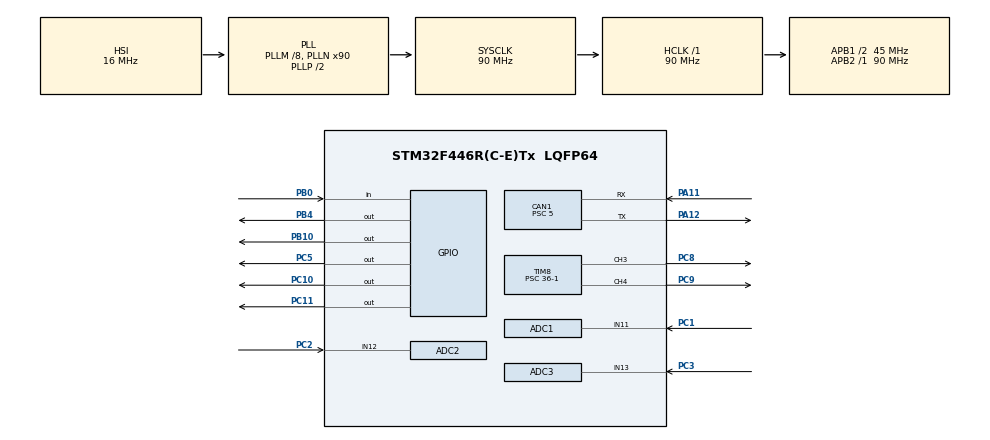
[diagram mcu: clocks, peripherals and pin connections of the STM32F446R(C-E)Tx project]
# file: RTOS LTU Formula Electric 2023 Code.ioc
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ADC1.Channel-0\#ChannelRegularConversion=ADC_CHANNEL_11
ADC1.ClockPrescaler=ADC_CLOCK_SYNC_PCLK_DIV8
ADC1.NbrOfConversionFlag=1
ADC1.Rank-0\#ChannelRegularConversion=1
ADC1.Resolution=ADC_RESOLUTION_10B
ADC1.SamplingTime-0\#ChannelRegularConversion=ADC_SAMPLETIME_56CYCLES
ADC1.master=1
ADC2.Channel-0\#ChannelRegularConversion=ADC_CHANNEL_12
ADC2.ClockPrescaler=ADC_CLOCK_SYNC_PCLK_DIV8
ADC2.NbrOfConversionFlag=1
ADC2.Rank-0\#ChannelRegularConversion=1
ADC2.Resolution=ADC_RESOLUTION_10B
ADC2.SamplingTime-0\#ChannelRegularConversion=ADC_SAMPLETIME_56CYCLES
ADC3.Channel-0\#ChannelRegularConversion=ADC_CHANNEL_13
ADC3.ClockPrescaler=ADC_CLOCK_SYNC_PCLK_DIV8
ADC3.NbrOfConversionFlag=1
ADC3.Rank-0\#ChannelRegularConversion=1
ADC3.Resolution=ADC_RESOLUTION_10B
ADC3.SamplingTime-0\#ChannelRegularConversion=ADC_SAMPLETIME_56CYCLES
CAN1.BS1=CAN_BS1_15TQ
CAN1.BS2=CAN_BS2_2TQ
CAN1.CalculateBaudRate=500000
CAN1.CalculateTimeBit=2000
CAN1.CalculateTimeQuantum=111.11111111111111
CAN1.Prescaler=5
FREERTOS.INCLUDE_vTaskDelayUntil=1
FREERTOS.Tasks01=TorqueControl,0,200,StartDefaultTask,Default,NULL,Dynamic,NULL,NULL;NodeGuarding,1,200,StartTask02,Default,NULL,Dynamic,NULL,NULL;OrionData,0,200,StartTask04,Default,NULL,Dynamic,NULL,NULL;PWM,0,200,StartTask05,Default,NULL,Dynamic,NULL,NULL;OrionDerateData,0,200,StartTask06,Default,NULL,Dynamic,NULL,NULL;Ignition,0,200,StartTask06,Default,NULL,Dynamic,NULL,NULL
Mcu.Family=STM32F4
Mcu.Name=STM32F446R(C-E)Tx
Mcu.Package=LQFP64
NVIC.PriorityGroup=NVIC_PRIORITYGROUP_4
NVIC.TIM2_IRQn=true\:5\:0\:false\:false\:true\:false\:true\:true\:true
NVIC.TIM3_IRQn=true\:15\:0\:false\:false\:true\:false\:false\:true\:true
NVIC.TimeBase=TIM3_IRQn
NVIC.TimeBaseIP=TIM3
PA11.Mode=CAN_Activate
PA11.Signal=CAN1_RX
PA12.Mode=CAN_Activate
PA12.Signal=CAN1_TX
PA13.Mode=Serial_Wire
PA13.Signal=SYS_JTMS-SWDIO
PA14.Mode=Serial_Wire
PA14.Signal=SYS_JTCK-SWCLK
PB0.GPIO_PuPd=GPIO_PULLUP
PB0.Signal=GPIO_Input
PB10.GPIO_PuPd=GPIO_PULLDOWN
PB10.GPIO_Speed=GPIO_SPEED_FREQ_HIGH
PB10.PinState=GPIO_PIN_SET
PB10.Signal=GPIO_Output
PB4.GPIO_PuPd=GPIO_PULLDOWN
PB4.Signal=GPIO_Output
PC1.Signal=ADCx_IN11
PC10.GPIO_PuPd=GPIO_PULLDOWN
PC10.GPIO_Speed=GPIO_SPEED_FREQ_HIGH
PC10.PinState=GPIO_PIN_SET
PC10.Signal=GPIO_Output
PC11.GPIO_PuPd=GPIO_PULLDOWN
PC11.GPIO_Speed=GPIO_SPEED_FREQ_HIGH
PC11.PinState=GPIO_PIN_SET
PC11.Signal=GPIO_Output
PC14-OSC32_IN.Mode=LSE-External-Oscillator
PC14-OSC32_IN.Signal=RCC_OSC32_IN
PC15-OSC32_OUT.Mode=LSE-External-Oscillator
PC15-OSC32_OUT.Signal=RCC_OSC32_OUT
PC2.Signal=ADCx_IN12
PC3.Signal=ADCx_IN13
PC5.GPIO_PuPd=GPIO_PULLDOWN
PC5.GPIO_Speed=GPIO_SPEED_FREQ_HIGH
PC5.PinState=GPIO_PIN_SET
PC5.Signal=GPIO_Output
PC8.Signal=S_TIM8_CH3
PC9.Signal=S_TIM8_CH4
PH0-OSC_IN.Mode=HSE-External-Clock-Source
PH0-OSC_IN.Signal=RCC_OSC_IN
PH1-OSC_OUT.Mode=HSE-External-Clock-Source
PH1-OSC_OUT.Signal=RCC_OSC_OUT
ProjectManager.HeapSize=0x200
ProjectManager.StackSize=0x400
ProjectManager.TargetToolchain=STM32CubeIDE
RCC.48MHZClocksFreq_Value=84000000
RCC.AHBFreq_Value=90000000
RCC.APB1CLKDivider=RCC_HCLK_DIV2
RCC.APB1Freq_Value=45000000
RCC.APB1TimFreq_Value=90000000
RCC.APB2Freq_Value=90000000
RCC.APB2TimFreq_Value=90000000
RCC.CortexFreq_Value=90000000
RCC.FLatency-AdvancedSettings=FLASH_LATENCY_2
RCC.HCLKFreq_Value=90000000
RCC.HSE_VALUE=8000000
RCC.HSI_VALUE=16000000
RCC.PLLM=8
RCC.PLLN=90
RCC.SYSCLKFreq_VALUE=90000000
RCC.SYSCLKSource=RCC_SYSCLKSOURCE_PLLCLK
RCC.USBFreq_Value=90000000
RCC.VCOOutputFreq_Value=180000000
SH.ADCx_IN11.0=ADC1_IN11,IN11
SH.ADCx_IN12.0=ADC2_IN12,IN12
SH.ADCx_IN13.0=ADC3_IN13,IN13
SH.S_TIM8_CH3.0=TIM8_CH3,PWM Generation3 CH3
SH.S_TIM8_CH4.0=TIM8_CH4,PWM Generation4 CH4
TIM2.Channel-Output\ Compare1\ No\ Output=TIM_CHANNEL_1
TIM2.Period=10000-1
TIM2.Prescaler=18000-1
TIM2.Pulse-Output\ Compare1\ No\ Output=10000
TIM8.Channel-PWM\ Generation3\ CH3=TIM_CHANNEL_3
TIM8.Channel-PWM\ Generation4\ CH4=TIM_CHANNEL_4
TIM8.Period=100-1
TIM8.Prescaler=36-1
VP_FREERTOS_VS_CMSIS_V1.Mode=CMSIS_V1
VP_SYS_VS_tim3.Mode=TIM3
VP_TIM2_VS_ClockSourceINT.Mode=Internal
VP_TIM2_VS_no_output1.Mode=Output Compare1 No Output
VP_TIM8_VS_ClockSourceINT.Mode=Internal
board=NUCLEO-F446RE

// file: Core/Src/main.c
/* USER CODE BEGIN Header */
/**
  ******************************************************************************
  * @file           : main.c
  * @brief          : Main program body
  ******************************************************************************
  * @attention
  *
  * Copyright (c) 2023 STMicroelectronics.
  * All rights reserved.
  *
  * This software is licensed under terms that can be found in the LICENSE file
  * in the root directory of this software component.
  * If no LICENSE file comes with this software, it is provided AS-IS.
  *
  ******************************************************************************
  */
/* USER CODE END Header */
#include "main.h"
#include "cmsis_os.h"

/* USER CODE BEGIN Includes */

#include "CAN.h"

/* USER CODE END Includes */

/* USER CODE BEGIN PTD */

typedef enum
{

	true = 1,
	false = 0

} bool;

/* USER CODE END PTD */

ADC_HandleTypeDef hadc1;
ADC_HandleTypeDef hadc2;
ADC_HandleTypeDef hadc3;

CAN_HandleTypeDef hcan1;

TIM_HandleTypeDef htim2;
TIM_HandleTypeDef htim8;

osThreadId TorqueControlHandle;
osThreadId NodeGuardingHandle;
osThreadId OrionDataHandle;
osThreadId PWMHandle;
osThreadId OrionDerateDataHandle;
osThreadId IgnitionHandle;
/* USER CODE BEGIN PV */

// Ignition
GPIO_PinState buttonState, lastButtonState = GPIO_PIN_SET;
bool enableCar = false;
unsigned long buttonPressTime = 0;

// Task times update according to clock speed
unsigned long previousTaskTime[8] = { 0 };
const uint8_t BMS_CYCLE_TIME = 60;
const uint8_t TORQUE_CYCLE_TIME = 10;
const uint8_t NODE_GUARDING_CYCLE_TIME = 70;
const uint8_t TIMEOUT = 20;

// Error Detection
bool errorSet[3] = { false };

// Torque Control
uint32_t primaryPotValue = 0, secondaryPotValue = 0;
uint32_t buffer1 = 0, buffer2 = 0;
int torqueRefLimit = 5000;
const int SPEED_REF_LIMIT =	(6500 + 32768);
const int THROTTLE_POSITION_MAX_1 = 234;
const int THROTTLE_POSITION_MIN_1 = 300;
const int THROTTLE_POSITION_MAX_2 = 382;
const int THROTTLE_POSITION_MIN_2 = 315;
const int TORQUE_REF_LIM_MAX = 9500;
const int TORQUE_REF_LIM_MIN = 5000;

// CAN Rx Header FIFO0
CAN_RxHeaderTypeDef rxHeaderFIFO0;
uint8_t dataFIFO0[8] = { 0 };

// CAN Rx Header FIFO1
CAN_RxHeaderTypeDef rxHeaderFIFO1;
uint8_t data[8] = { 0 };

// BMS Data
float packStateOfCharge = 0;
uint16_t packCurrent = 0;

// RPM Data
int rpm = 0;

// Temperature Data
int motorTemp = 0;
int motorControllerTemp = 0;

// PWM
int pumpPWM = 0;
int fanPWM = 0;

// Brake Pressure Sensor
uint16_t brakePressure = 0;

/* USER CODE END PV */

void SystemClock_Config(void);
static void MX_GPIO_Init(void);
static void MX_ADC1_Init(void);
static void MX_ADC2_Init(void);
static void MX_CAN1_Init(void);
static void MX_TIM2_Init(void);
static void MX_TIM8_Init(void);
static void MX_ADC3_Init(void);
void StartDefaultTask(void const * argument);
void StartTask02(void const * argument);
void StartTask04(void const * argument);
void StartTask05(void const * argument);
void StartTask06(void const * argument);

/* USER CODE BEGIN PFP */

// Pedal Position Output Filter (Eliminates induces noise and spikes in signal)
uint32_t ADC_GetAverageValue(ADC_HandleTypeDef* hadc, int numOfReadings)
{

	int max = 0, min = 0;
	int maxIndex = 0, minIndex = 0;
	uint32_t data[10] = { 0 };
	uint32_t sum = 0, average = 0;

	for (int i = 0; i < numOfReadings; i++)
	{
		HAL_ADC_Start(hadc);

		HAL_ADC_PollForConversion(hadc, 1);

		data[i] = HAL_ADC_GetValue(hadc);

		HAL_ADC_Stop(hadc);
	}

	max = data[0];

	for (int i = 1; i < 10; i++)
	{
		if (data[i] > max)
		{
			max = data[i];
			maxIndex = i;
		}
	}

	min = data[0];

	for (int i = 1; i < 10; i++)
	{
		if (data[i] < min)
		{
			min = data[i];
			minIndex = i;
		}
	}

	for (int i = 0; i < 10; i++)
	{
		if (i == minIndex || i == maxIndex)
		{
      sum += 0;
		}
		else
		{
			sum += data[i];
		}
	}

	average = sum / 8;

	data[maxIndex] = average;

	data[minIndex] = average;

	sum = 0;

	for (int i = 0; i < 10; i++)
	{
		sum += data[i];
	}

	average = sum / 10;

	return (average);
}
/*
void ignitionTask()
{
	buttonState = HAL_GPIO_ReadPin(GPIOB, GPIO_PIN_0);

	if (lastState == GPIO_PIN_SET && buttonState == GPIO_PIN_RESET)
	{
		buttonPressTime = HAL_GetTick();
	}
	else if (lastState == GPIO_PIN_RESET && buttonState == GPIO_PIN_SET)
	{
		buttonReleaseTime = HAL_GetTick();

		long pressDuration = buttonReleaseTime - buttonPressTime;

		if (pressDuration > 500)
		{
			startNode();
			clearErrors();

			HAL_GPIO_WritePin(GPIOB, GPIO_PIN_4, GPIO_PIN_SET);

			TIM2->CNT = 0;
			HAL_TIM_OC_Start_IT(&htim2, TIM_CHANNEL_1);

			enableCar = true;
		}
	}

	lastState = buttonState;
}
*/

// Handles Vehicle Ignition Process
void ignitionTask()
{
	buttonState = HAL_GPIO_ReadPin(GPIOB, GPIO_PIN_0);

	buttonPressTime = HAL_GetTick();

	while (buttonState == GPIO_PIN_RESET)
	{
		if (HAL_GetTick() - buttonPressTime > 50)
		{
			startNode();
			clearErrors();

			HAL_GPIO_WritePin(GPIOB, GPIO_PIN_4, GPIO_PIN_SET);

			TIM2->CNT = 0;
			HAL_TIM_OC_Start_IT(&htim2, TIM_CHANNEL_1);

			enableCar = true;
		}

		buttonState = HAL_GPIO_ReadPin(GPIOB, GPIO_PIN_0);
	}
}

bool timeCheck(int duration, int taskNum)
{
	unsigned long currentTaskTime = HAL_GetTick();

	if (currentTaskTime - previousTaskTime[taskNum] > duration)
	{
		return true;
	}
	else
	{
		return false;
	}
}

// General purpose map function
long map(long x, long in_min, long in_max, long out_min, long out_max) {
  return (x - in_min) * (out_max - out_min) / (in_max - in_min) + out_min;
}

// General constrain function
long constrain(long x, long out_min, long out_max)
{
	if (x < out_min)
	{
		return out_min;
	}

	if (x > out_max)
	{
		return out_max;
	}

	return x;
}

// Primary Pedal position sensor range check
void primaryPotErrorCheck()
{
	primaryPotValue = constrain(ADC_GetAverageValue(&hadc1, 10), 0, 1023);

	if (primaryPotValue <= 0 || primaryPotValue >= 550)
	{
		errorSet[0] = true;
	}
	else
	{
		errorSet[0] = false;
	}
}

// Secondary Pedal position sensor range check
void secondaryPotErrorCheck()
{
	secondaryPotValue = constrain(ADC_GetAverageValue(&hadc2, 10), 0, 1023);

	if (secondaryPotValue <= 0 || secondaryPotValue >= 550)
	{
		errorSet[1] = true;
	}
	else
	{
		errorSet[1] = false;
	}
}

// Brake pressure sensor range check
void brakeSensorErrorCheck()
{
	brakePressure = ADC_GetAverageValue(&hadc3, 10);

	brakePressure += 44;

	if (brakePressure <= 90 || brakePressure >= 260)
	{
		errorSet[2] = true;
	}
	else
	{
		errorSet[2] = false;
	}
}

// Torque Control and Regenerative Braking Function
void torqueControl()
{

	if (errorSet[0] == true && errorSet[1] == true)
	{
		torqueRefLimit = 5000;
	}
	else if (errorSet[0] == true)
	{
		secondaryPotValue = constrain(ADC_GetAverageValue(&hadc2, 10), 0, 1023);

		torqueRefLimit = map(secondaryPotValue, THROTTLE_POSITION_MIN_2, THROTTLE_POSITION_MAX_2, TORQUE_REF_LIM_MIN, TORQUE_REF_LIM_MAX);

		torqueRefLimit = constrain(torqueRefLimit, TORQUE_REF_LIM_MIN, TORQUE_REF_LIM_MAX);
	}
	else
	{
		primaryPotValue = constrain(ADC_GetAverageValue(&hadc1, 10), 0, 1023);

		torqueRefLimit = map(primaryPotValue, THROTTLE_POSITION_MIN_1, THROTTLE_POSITION_MAX_1, TORQUE_REF_LIM_MIN, TORQUE_REF_LIM_MAX);

		torqueRefLimit = constrain(torqueRefLimit, TORQUE_REF_LIM_MIN, TORQUE_REF_LIM_MAX);
	}

	brakePressure = ADC_GetAverageValue(&hadc3, 10);

    brakePressure += 44;

	if (brakePressure > 110 && brakePressure < 127)
	{
		 if (rpm > 200 && errorSet[0] == false && errorSet[1] == false && errorSet[2] == false)
		 {
			 torqueRefLimit = map(torqueRefLimit, 110, 127, 5000, 4500);
		 }
	}

	torqueControlMessage(&torqueRefLimit, &SPEED_REF_LIMIT);
}

/* USER CODE END PFP */

/* USER CODE BEGIN 0 */

// RTD Speaker interrupt handler
void HAL_TIM_OC_DelayElapsedCallback(TIM_HandleTypeDef *htim)
{
  /* Prevent unused argument(s) compilation warning */

	HAL_GPIO_WritePin(GPIOB, GPIO_PIN_4, GPIO_PIN_RESET);

	HAL_TIM_OC_Stop_IT(&htim2, TIM_CHANNEL_1);

  /* NOTE : This function should not be modified, when the callback is needed,
            the HAL_TIM_OC_DelayElapsedCallback could be implemented in the user file
   */
}

/* USER CODE END 0 */

int main(void)
{

  /* MCU Configuration--------------------------------------------------------*/

  /* Reset of all peripherals, Initializes the Flash interface and the Systick. */
  HAL_Init();

  /* Configure the system clock */
  SystemClock_Config();

  /* USER CODE BEGIN SysInit */

  //vTraceEnable(TRC_START);

  /* USER CODE END SysInit */

  /* Initialize all configured peripherals */
  MX_GPIO_Init();
  MX_ADC1_Init();
  MX_ADC2_Init();
  MX_CAN1_Init();
  MX_TIM2_Init();
  MX_TIM8_Init();
  MX_ADC3_Init();
  /* USER CODE BEGIN 2 */

  // Iniitialize CAN Protocol
  HAL_CAN_Start(&hcan1);

  // Pump and Fan PWM
  HAL_TIM_PWM_Start(&htim8, TIM_CHANNEL_3);

  HAL_TIM_PWM_Start(&htim8, TIM_CHANNEL_4);

  TIM8->CCR3 = 50;

  TIM8->CCR4 = 50;

  HAL_GPIO_WritePin(GPIOB, GPIO_PIN_10, GPIO_PIN_SET);

  HAL_GPIO_WritePin(GPIOC, GPIO_PIN_5, GPIO_PIN_SET);

  /* USER CODE END 2 */

  /* Create the thread(s) */
  /* definition and creation of TorqueControl */
  osThreadDef(TorqueControl, StartDefaultTask, osPriorityNormal, 0, 200);
  TorqueControlHandle = osThreadCreate(osThread(TorqueControl), NULL);

  /* definition and creation of NodeGuarding */
  osThreadDef(NodeGuarding, StartTask02, osPriorityAboveNormal, 0, 200);
  NodeGuardingHandle = osThreadCreate(osThread(NodeGuarding), NULL);

  /* definition and creation of OrionData */
  osThreadDef(OrionData, StartTask04, osPriorityNormal, 0, 200);
  OrionDataHandle = osThreadCreate(osThread(OrionData), NULL);

  /* definition and creation of PWM */
  osThreadDef(PWM, StartTask05, osPriorityNormal, 0, 200);
  PWMHandle = osThreadCreate(osThread(PWM), NULL);

  /* definition and creation of OrionDerateData */
  osThreadDef(OrionDerateData, StartTask06, osPriorityNormal, 0, 200);
  OrionDerateDataHandle = osThreadCreate(osThread(OrionDerateData), NULL);

  /* definition and creation of Ignition */
  osThreadDef(Ignition, StartTask06, osPriorityNormal, 0, 200);
  IgnitionHandle = osThreadCreate(osThread(Ignition), NULL);

  /* Start scheduler */
  osKernelStart();

  /* We should never get here as control is now taken by the scheduler */
  /* Infinite loop */
  while (1)
  {

  }
}

void SystemClock_Config(void)
{
  RCC_OscInitTypeDef RCC_OscInitStruct = {0};
  RCC_ClkInitTypeDef RCC_ClkInitStruct = {0};

  /** Configure the main internal regulator output voltage
  */
  __HAL_RCC_PWR_CLK_ENABLE();
  __HAL_PWR_VOLTAGESCALING_CONFIG(PWR_REGULATOR_VOLTAGE_SCALE3);

  /** Initializes the RCC Oscillators according to the specified parameters
  * in the RCC_OscInitTypeDef structure.
  */
  RCC_OscInitStruct.OscillatorType = RCC_OSCILLATORTYPE_HSI;
  RCC_OscInitStruct.HSIState = RCC_HSI_ON;
  RCC_OscInitStruct.HSICalibrationValue = RCC_HSICALIBRATION_DEFAULT;
  RCC_OscInitStruct.PLL.PLLState = RCC_PLL_ON;
  RCC_OscInitStruct.PLL.PLLSource = RCC_PLLSOURCE_HSI;
  RCC_OscInitStruct.PLL.PLLM = 8;
  RCC_OscInitStruct.PLL.PLLN = 90;
  RCC_OscInitStruct.PLL.PLLP = RCC_PLLP_DIV2;
  RCC_OscInitStruct.PLL.PLLQ = 2;
  RCC_OscInitStruct.PLL.PLLR = 2;
  if (HAL_RCC_OscConfig(&RCC_OscInitStruct) != HAL_OK)
  {
    Error_Handler();
  }

  /** Initializes the CPU, AHB and APB buses clocks
  */
  RCC_ClkInitStruct.ClockType = RCC_CLOCKTYPE_HCLK|RCC_CLOCKTYPE_SYSCLK
                              |RCC_CLOCKTYPE_PCLK1|RCC_CLOCKTYPE_PCLK2;
  RCC_ClkInitStruct.SYSCLKSource = RCC_SYSCLKSOURCE_PLLCLK;
  RCC_ClkInitStruct.AHBCLKDivider = RCC_SYSCLK_DIV1;
  RCC_ClkInitStruct.APB1CLKDivider = RCC_HCLK_DIV2;
  RCC_ClkInitStruct.APB2CLKDivider = RCC_HCLK_DIV1;

  if (HAL_RCC_ClockConfig(&RCC_ClkInitStruct, FLASH_LATENCY_2) != HAL_OK)
  {
    Error_Handler();
  }
}

static void MX_ADC1_Init(void)
{

  ADC_ChannelConfTypeDef sConfig = {0};

  /** Configure the global features of the ADC (Clock, Resolution, Data Alignment and number of conversion)
  */
  hadc1.Instance = ADC1;
  hadc1.Init.ClockPrescaler = ADC_CLOCK_SYNC_PCLK_DIV8;
  hadc1.Init.Resolution = ADC_RESOLUTION_10B;
  hadc1.Init.ScanConvMode = DISABLE;
  hadc1.Init.ContinuousConvMode = DISABLE;
  hadc1.Init.DiscontinuousConvMode = DISABLE;
  hadc1.Init.ExternalTrigConvEdge = ADC_EXTERNALTRIGCONVEDGE_NONE;
  hadc1.Init.ExternalTrigConv = ADC_SOFTWARE_START;
  hadc1.Init.DataAlign = ADC_DATAALIGN_RIGHT;
  hadc1.Init.NbrOfConversion = 1;
  hadc1.Init.DMAContinuousRequests = DISABLE;
  hadc1.Init.EOCSelection = ADC_EOC_SINGLE_CONV;
  if (HAL_ADC_Init(&hadc1) != HAL_OK)
  {
    Error_Handler();
  }

  /** Configure for the selected ADC regular channel its corresponding rank in the sequencer and its sample time.
  */
  sConfig.Channel = ADC_CHANNEL_11;
  sConfig.Rank = 1;
  sConfig.SamplingTime = ADC_SAMPLETIME_56CYCLES;
  if (HAL_ADC_ConfigChannel(&hadc1, &sConfig) != HAL_OK)
  {
    Error_Handler();
  }

}

static void MX_ADC2_Init(void)
{

  ADC_ChannelConfTypeDef sConfig = {0};

  /** Configure the global features of the ADC (Clock, Resolution, Data Alignment and number of conversion)
  */
  hadc2.Instance = ADC2;
  hadc2.Init.ClockPrescaler = ADC_CLOCK_SYNC_PCLK_DIV8;
  hadc2.Init.Resolution = ADC_RESOLUTION_10B;
  hadc2.Init.ScanConvMode = DISABLE;
  hadc2.Init.ContinuousConvMode = DISABLE;
  hadc2.Init.DiscontinuousConvMode = DISABLE;
  hadc2.Init.ExternalTrigConvEdge = ADC_EXTERNALTRIGCONVEDGE_NONE;
  hadc2.Init.ExternalTrigConv = ADC_SOFTWARE_START;
  hadc2.Init.DataAlign = ADC_DATAALIGN_RIGHT;
  hadc2.Init.NbrOfConversion = 1;
  hadc2.Init.DMAContinuousRequests = DISABLE;
  hadc2.Init.EOCSelection = ADC_EOC_SINGLE_CONV;
  if (HAL_ADC_Init(&hadc2) != HAL_OK)
  {
    Error_Handler();
  }

  /** Configure for the selected ADC regular channel its corresponding rank in the sequencer and its sample time.
  */
  sConfig.Channel = ADC_CHANNEL_12;
  sConfig.Rank = 1;
  sConfig.SamplingTime = ADC_SAMPLETIME_56CYCLES;
  if (HAL_ADC_ConfigChannel(&hadc2, &sConfig) != HAL_OK)
  {
    Error_Handler();
  }

}

static void MX_ADC3_Init(void)
{

  ADC_ChannelConfTypeDef sConfig = {0};

  /** Configure the global features of the ADC (Clock, Resolution, Data Alignment and number of conversion)
  */
  hadc3.Instance = ADC3;
  hadc3.Init.ClockPrescaler = ADC_CLOCK_SYNC_PCLK_DIV8;
  hadc3.Init.Resolution = ADC_RESOLUTION_10B;
  hadc3.Init.ScanConvMode = DISABLE;
  hadc3.Init.ContinuousConvMode = DISABLE;
  hadc3.Init.DiscontinuousConvMode = DISABLE;
  hadc3.Init.ExternalTrigConvEdge = ADC_EXTERNALTRIGCONVEDGE_NONE;
  hadc3.Init.ExternalTrigConv = ADC_SOFTWARE_START;
  hadc3.Init.DataAlign = ADC_DATAALIGN_RIGHT;
  hadc3.Init.NbrOfConversion = 1;
  hadc3.Init.DMAContinuousRequests = DISABLE;
  hadc3.Init.EOCSelection = ADC_EOC_SINGLE_CONV;
  if (HAL_ADC_Init(&hadc3) != HAL_OK)
  {
    Error_Handler();
  }

  /** Configure for the selected ADC regular channel its corresponding rank in the sequencer and its sample time.
  */
  sConfig.Channel = ADC_CHANNEL_13;
  sConfig.Rank = 1;
  sConfig.SamplingTime = ADC_SAMPLETIME_56CYCLES;
  if (HAL_ADC_ConfigChannel(&hadc3, &sConfig) != HAL_OK)
  {
    Error_Handler();
  }

}

static void MX_CAN1_Init(void)
{

  hcan1.Instance = CAN1;
  hcan1.Init.Prescaler = 5;
  hcan1.Init.Mode = CAN_MODE_NORMAL;
  hcan1.Init.SyncJumpWidth = CAN_SJW_1TQ;
  hcan1.Init.TimeSeg1 = CAN_BS1_15TQ;
  hcan1.Init.TimeSeg2 = CAN_BS2_2TQ;
  hcan1.Init.TimeTriggeredMode = DISABLE;
  hcan1.Init.AutoBusOff = DISABLE;
  hcan1.Init.AutoWakeUp = DISABLE;
  hcan1.Init.AutoRetransmission = DISABLE;
  hcan1.Init.ReceiveFifoLocked = DISABLE;
  hcan1.Init.TransmitFifoPriority = DISABLE;
  if (HAL_CAN_Init(&hcan1) != HAL_OK)
  {
    //Error_Handler();
  }
  /* USER CODE BEGIN CAN1_Init 2 */

  motorAndControllerTempFilterConfig();

  motorRPMFilterConfig();

  orionFilterConfig();

  //orionFilterConfig_1();

  /* USER CODE END CAN1_Init 2 */

}

static void MX_TIM2_Init(void)
{

  TIM_ClockConfigTypeDef sClockSourceConfig = {0};
  TIM_MasterConfigTypeDef sMasterConfig = {0};
  TIM_OC_InitTypeDef sConfigOC = {0};

  htim2.Instance = TIM2;
  htim2.Init.Prescaler = 18000-1;
  htim2.Init.CounterMode = TIM_COUNTERMODE_UP;
  htim2.Init.Period = 10000-1;
  htim2.Init.ClockDivision = TIM_CLOCKDIVISION_DIV1;
  htim2.Init.AutoReloadPreload = TIM_AUTORELOAD_PRELOAD_DISABLE;
  if (HAL_TIM_Base_Init(&htim2) != HAL_OK)
  {
    Error_Handler();
  }
  sClockSourceConfig.ClockSource = TIM_CLOCKSOURCE_INTERNAL;
  if (HAL_TIM_ConfigClockSource(&htim2, &sClockSourceConfig) != HAL_OK)
  {
    Error_Handler();
  }
  if (HAL_TIM_OC_Init(&htim2) != HAL_OK)
  {
    Error_Handler();
  }
  sMasterConfig.MasterOutputTrigger = TIM_TRGO_RESET;
  sMasterConfig.MasterSlaveMode = TIM_MASTERSLAVEMODE_DISABLE;
  if (HAL_TIMEx_MasterConfigSynchronization(&htim2, &sMasterConfig) != HAL_OK)
  {
    Error_Handler();
  }
  sConfigOC.OCMode = TIM_OCMODE_TIMING;
  sConfigOC.Pulse = 10000;
  sConfigOC.OCPolarity = TIM_OCPOLARITY_HIGH;
  sConfigOC.OCFastMode = TIM_OCFAST_DISABLE;
  if (HAL_TIM_OC_ConfigChannel(&htim2, &sConfigOC, TIM_CHANNEL_1) != HAL_OK)
  {
    Error_Handler();
  }

}

static void MX_TIM8_Init(void)
{

  TIM_ClockConfigTypeDef sClockSourceConfig = {0};
  TIM_MasterConfigTypeDef sMasterConfig = {0};
  TIM_OC_InitTypeDef sConfigOC = {0};
  TIM_BreakDeadTimeConfigTypeDef sBreakDeadTimeConfig = {0};

  htim8.Instance = TIM8;
  htim8.Init.Prescaler = 36-1;
  htim8.Init.CounterMode = TIM_COUNTERMODE_UP;
  htim8.Init.Period = 100-1;
  htim8.Init.ClockDivision = TIM_CLOCKDIVISION_DIV1;
  htim8.Init.RepetitionCounter = 0;
  htim8.Init.AutoReloadPreload = TIM_AUTORELOAD_PRELOAD_DISABLE;
  if (HAL_TIM_Base_Init(&htim8) != HAL_OK)
  {
    Error_Handler();
  }
  sClockSourceConfig.ClockSource = TIM_CLOCKSOURCE_INTERNAL;
  if (HAL_TIM_ConfigClockSource(&htim8, &sClockSourceConfig) != HAL_OK)
  {
    Error_Handler();
  }
  if (HAL_TIM_PWM_Init(&htim8) != HAL_OK)
  {
    Error_Handler();
  }
  sMasterConfig.MasterOutputTrigger = TIM_TRGO_RESET;
  sMasterConfig.MasterSlaveMode = TIM_MASTERSLAVEMODE_DISABLE;
  if (HAL_TIMEx_MasterConfigSynchronization(&htim8, &sMasterConfig) != HAL_OK)
  {
    Error_Handler();
  }
  sConfigOC.OCMode = TIM_OCMODE_PWM1;
  sConfigOC.Pulse = 0;
  sConfigOC.OCPolarity = TIM_OCPOLARITY_HIGH;
  sConfigOC.OCNPolarity = TIM_OCNPOLARITY_HIGH;
  sConfigOC.OCFastMode = TIM_OCFAST_DISABLE;
  sConfigOC.OCIdleState = TIM_OCIDLESTATE_RESET;
  sConfigOC.OCNIdleState = TIM_OCNIDLESTATE_RESET;
  if (HAL_TIM_PWM_ConfigChannel(&htim8, &sConfigOC, TIM_CHANNEL_3) != HAL_OK)
  {
    Error_Handler();
  }
  if (HAL_TIM_PWM_ConfigChannel(&htim8, &sConfigOC, TIM_CHANNEL_4) != HAL_OK)
  {
    Error_Handler();
  }
  sBreakDeadTimeConfig.OffStateRunMode = TIM_OSSR_DISABLE;
  sBreakDeadTimeConfig.OffStateIDLEMode = TIM_OSSI_DISABLE;
  sBreakDeadTimeConfig.LockLevel = TIM_LOCKLEVEL_OFF;
  sBreakDeadTimeConfig.DeadTime = 0;
  sBreakDeadTimeConfig.BreakState = TIM_BREAK_DISABLE;
  sBreakDeadTimeConfig.BreakPolarity = TIM_BREAKPOLARITY_HIGH;
  sBreakDeadTimeConfig.AutomaticOutput = TIM_AUTOMATICOUTPUT_DISABLE;
  if (HAL_TIMEx_ConfigBreakDeadTime(&htim8, &sBreakDeadTimeConfig) != HAL_OK)
  {
    Error_Handler();
  }
  HAL_TIM_MspPostInit(&htim8);

}

static void MX_GPIO_Init(void)
{
  GPIO_InitTypeDef GPIO_InitStruct = {0};

  /* GPIO Ports Clock Enable */
  __HAL_RCC_GPIOC_CLK_ENABLE();
  __HAL_RCC_GPIOH_CLK_ENABLE();
  __HAL_RCC_GPIOB_CLK_ENABLE();
  __HAL_RCC_GPIOA_CLK_ENABLE();

  /*Configure GPIO pin Output Level */
  HAL_GPIO_WritePin(GPIOC, GPIO_PIN_5|GPIO_PIN_10|GPIO_PIN_11, GPIO_PIN_SET);

  /*Configure GPIO pin Output Level */
  HAL_GPIO_WritePin(GPIOB, GPIO_PIN_10, GPIO_PIN_SET);

  /*Configure GPIO pin Output Level */
  HAL_GPIO_WritePin(GPIOB, GPIO_PIN_4, GPIO_PIN_RESET);

  /*Configure GPIO pins : PC5 PC10 PC11 */
  GPIO_InitStruct.Pin = GPIO_PIN_5|GPIO_PIN_10|GPIO_PIN_11;
  GPIO_InitStruct.Mode = GPIO_MODE_OUTPUT_PP;
  GPIO_InitStruct.Pull = GPIO_PULLDOWN;
  GPIO_InitStruct.Speed = GPIO_SPEED_FREQ_HIGH;
  HAL_GPIO_Init(GPIOC, &GPIO_InitStruct);

  /*Configure GPIO pin : PB0 */
  GPIO_InitStruct.Pin = GPIO_PIN_0;
  GPIO_InitStruct.Mode = GPIO_MODE_INPUT;
  GPIO_InitStruct.Pull = GPIO_PULLUP;
  HAL_GPIO_Init(GPIOB, &GPIO_InitStruct);

  /*Configure GPIO pin : PB10 */
  GPIO_InitStruct.Pin = GPIO_PIN_10;
  GPIO_InitStruct.Mode = GPIO_MODE_OUTPUT_PP;
  GPIO_InitStruct.Pull = GPIO_PULLDOWN;
  GPIO_InitStruct.Speed = GPIO_SPEED_FREQ_HIGH;
  HAL_GPIO_Init(GPIOB, &GPIO_InitStruct);

  /*Configure GPIO pin : PB4 */
  GPIO_InitStruct.Pin = GPIO_PIN_4;
  GPIO_InitStruct.Mode = GPIO_MODE_OUTPUT_PP;
  GPIO_InitStruct.Pull = GPIO_PULLDOWN;
  GPIO_InitStruct.Speed = GPIO_SPEED_FREQ_LOW;
  HAL_GPIO_Init(GPIOB, &GPIO_InitStruct);

}

void StartDefaultTask(void const * argument) // Torque Control Thread
{
  /* USER CODE BEGIN 5 */

	TickType_t xLastWakeTime;
	const TickType_t xFrequency = 10;

	xLastWakeTime = xTaskGetTickCount();

  /* Infinite loop */
  for(;;)
  {

	  vTaskDelayUntil(&xLastWakeTime, xFrequency);

	  syncMessage();

	  vTaskDelay(pdMS_TO_TICKS(2));

	  HAL_CAN_GetRxMessage(&hcan1, CAN_RX_FIFO1, &rxHeaderFIFO1, data);

	  if (rxHeaderFIFO1.StdId == 0x3FA)
	  {
		  rpm = ((int)(data[1]<<8) | (int)data[0]) - 32768;
	  }

	  HAL_CAN_GetRxMessage(&hcan1, CAN_RX_FIFO1, &rxHeaderFIFO1, data);

	  if (rxHeaderFIFO1.StdId == 0x1BA)
	  {
		  motorControllerTemp = (int)data[0] - 40;

		  motorTemp = (int)data[1] - 40;
	  }

	  primaryPotErrorCheck();

	  secondaryPotErrorCheck();

	  torqueControl();
  }
  /* USER CODE END 5 */
}

void StartTask02(void const * argument) // Inverter Node Guarding Thread
{
  /* USER CODE BEGIN StartTask02 */

	TickType_t xLastWakeTime;
	const TickType_t xFrequency = 150;

	xLastWakeTime = xTaskGetTickCount();

  /* Infinite loop */
  for(;;)
  {
	  vTaskDelayUntil(&xLastWakeTime, xFrequency);

	  nodeGuarding();
  }
  /* USER CODE END StartTask02 */
}

void StartTask04(void const * argument) // BMS Torque Deration Thread
{
  /* USER CODE BEGIN StartTask04 */

	TickType_t xLastWakeTime;
	const TickType_t xFrequency = 95;

  /* Infinite loop */
  for(;;)
  {
	  vTaskDelayUntil(&xLastWakeTime, xFrequency);

	  HAL_CAN_GetRxMessage(&hcan1, CAN_RX_FIFO0, &rxHeaderFIFO0, dataFIFO0);

	  if (rxHeaderFIFO0.StdId == 0x6CA)
	  {
		  packCurrent = ((dataFIFO0[0]<<8) | dataFIFO0[1]) / 100;

		  packStateOfCharge = ((dataFIFO0[2]<<8) | dataFIFO0[3]) / 100.0 * 2.0;
	  }

  }
  /* USER CODE END StartTask04 */
}

void StartTask05(void const * argument) // Radiator Fan and Pump PWM Thread
{
  /* USER CODE BEGIN StartTask05 */
  /* Infinite loop */
  for(;;)
  {

	  if (motorTemp > 30 || motorControllerTemp > 30)
	  {
		  if (motorTemp > motorControllerTemp)
		  {
			  constrain(motorTemp, 25, 80);

			  pumpPWM = constrain(map(motorTemp, 25, 80, 30, 50), 30, 50);

			  TIM8->CCR3 =  pumpPWM; // Pump

			  fanPWM = constrain(map(motorTemp, 25, 80, 30, 50), 30, 50);

			  TIM8->CCR4 = fanPWM; // Fan
		  }
		  else
		  {
			  constrain(motorControllerTemp, 25, 55);

			  pumpPWM = constrain(map(motorControllerTemp, 25, 55, 30, 50), 30, 50);

			  TIM8->CCR3 = pumpPWM; // Pump

			  fanPWM = constrain(map(motorControllerTemp, 25, 55, 30, 50), 30, 50);

			  TIM8->CCR4 = fanPWM; // Fan
		  }
	  }
	  else
	  {
		  pumpPWM = 50;

		  fanPWM = 50;

		  TIM8->CCR3 = pumpPWM;

		  TIM8->CCR4 = fanPWM;
	  }

  }
  /* USER CODE END StartTask05 */
}

void StartTask06(void const * argument) // Ignition Thread
{
  /* USER CODE BEGIN StartTask06 */
  /* Infinite loop */
  for(;;)
  {
	  ignitionTask();
  }
  /* USER CODE END StartTask06 */
}

void HAL_TIM_PeriodElapsedCallback(TIM_HandleTypeDef *htim)
{
  if (htim->Instance == TIM3) {
    HAL_IncTick();
  }
}

void Error_Handler(void)
{
  /* USER CODE BEGIN Error_Handler_Debug */
  /* User can add his own implementation to report the HAL error return state */
  __disable_irq();
  while (1)
  {
	  //HAL_GPIO_WritePin(GPIOB, GPIO_PIN_10, GPIO_PIN_RESET);
  }
  /* USER CODE END Error_Handler_Debug */
}
